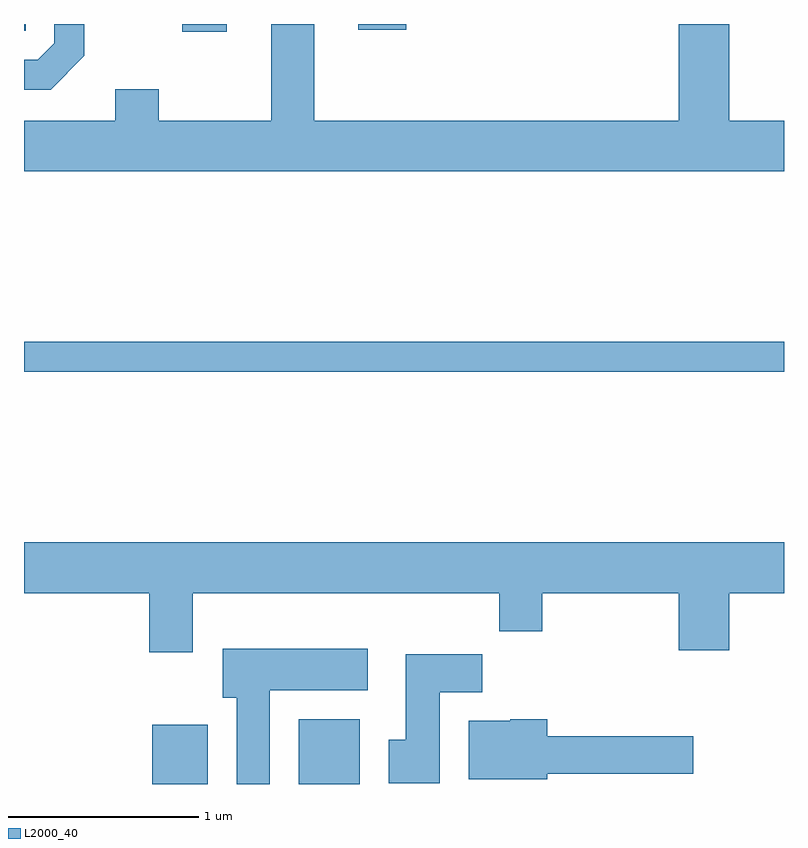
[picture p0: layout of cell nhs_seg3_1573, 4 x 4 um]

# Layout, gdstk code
import gdstk
lib = gdstk.Library(unit=1e-6, precision=1e-09)
def R(c, l, rs):  # rectangles x0, y0, x1, y1
    for r in rs: c.add(gdstk.rectangle(r[:2], r[2:], *l))
def P(c, l, *ps):  # polygons
    for p in ps: c.add(gdstk.Polygon(p, *l))
L2000_40 = (2000, 40)

nhs_seg3_1573 = lib.new_cell('nhs_seg3_1573')
R(nhs_seg3_1573, L2000_40, [(232.286,1133.892,232.579,1134.204), (233.056,1133.892,233.379,1134.234), (231.611,1136.061,235.611,1136.219), (232.443,1137.851,232.679,1137.892), (231.611,1137.856,231.619,1137.892), (233.371,1137.861,233.624,1137.892)])
P(nhs_seg3_1573, L2000_40, [(235.611,1137.384),(235.324,1137.384),(235.324,1137.892),(235.056,1137.892),(235.056,1137.384),(233.139,1137.384),(233.139,1137.892),(232.911,1137.892),(232.911,1137.384),(232.319,1137.384),(232.319,1137.549),(232.091,1137.549),(232.091,1137.384),(231.611,1137.384),(231.611,1137.116),(235.611,1137.116)],
  [(231.929,1137.724),(231.929,1137.892),(231.771,1137.892),(231.771,1137.792),(231.684,1137.704),(231.611,1137.704),(231.611,1137.546),(231.752,1137.546)],
  [(232.499,1134.896),(234.111,1134.896),(234.111,1134.696),(234.339,1134.696),(234.339,1134.896),(235.056,1134.896),(235.056,1134.596),(235.324,1134.596),(235.324,1134.896),(235.611,1134.896),(235.611,1135.164),(231.611,1135.164),(231.611,1134.896),(232.271,1134.896),(232.271,1134.586),(232.499,1134.586)],
  [(232.904,1134.386),(233.419,1134.386),(233.419,1134.604),(232.656,1134.604),(232.656,1134.346),(232.731,1134.346),(232.731,1133.892),(232.904,1133.892)],
  [(233.799,1134.376),(234.024,1134.376),(234.024,1134.574),(233.621,1134.574),(233.621,1134.124),(233.531,1134.124),(233.531,1133.896),(233.799,1133.896)],
  [(234.364,1133.946),(235.134,1133.946),(235.134,1134.144),(234.364,1134.144),(234.364,1134.234),(234.17,1134.234),(234.17,1134.224),(233.951,1134.224),(233.951,1133.916),(234.364,1133.916)])

lib.write_gds('nhs_seg3_1573.gds')
